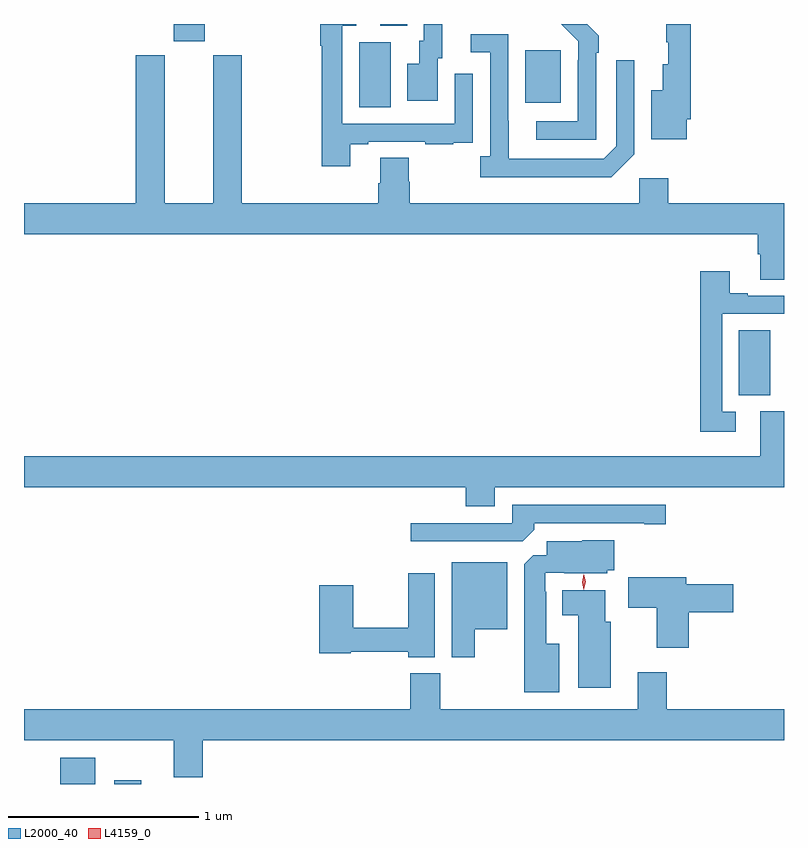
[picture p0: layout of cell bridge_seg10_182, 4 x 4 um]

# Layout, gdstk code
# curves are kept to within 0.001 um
import gdstk
lib = gdstk.Library(unit=1e-6, precision=1e-09)
def R(c, l, rs):  # rectangles x0, y0, x1, y1
    for r in rs: c.add(gdstk.rectangle(r[:2], r[2:], *l))
def P(c, l, *ps):  # polygons
    for p in ps: c.add(gdstk.Polygon(p, *l))
L2000_40 = (2000, 40)
L4159_0 = (4159, 0)

bridge_seg10_182 = lib.new_cell('bridge_seg10_182')
R(bridge_seg10_182, L2000_40, [(157.973,1249.471,158.158,1249.609), (158.258,1249.471,158.401,1249.492), (161.546,1251.517,161.71,1251.86), (159.548,1253.032,159.712,1253.376), (160.421,1253.057,160.609,1253.332), (158.57,1253.379,158.734,1253.471), (159.659,1253.461,159.799,1253.471)])
P(bridge_seg10_182, L2000_40, [(160.794,1253.321),(160.809,1253.321),(160.809,1253.409),(160.747,1253.471),(160.61,1253.471),(160.701,1253.379),(160.701,1253.279),(160.698,1253.279),(160.698,1252.959),(160.479,1252.959),(160.479,1252.863),(160.794,1252.863)],
  [(159.961,1253.292),(159.985,1253.292),(159.985,1253.471),(159.888,1253.471),(159.888,1253.382),(159.863,1253.382),(159.863,1253.263),(159.8,1253.263),(159.8,1253.067),(159.961,1253.067)],
  [(161.272,1252.969),(161.291,1252.969),(161.291,1253.471),(161.163,1253.471),(161.163,1253.375),(161.174,1253.375),(161.174,1253.26),(161.144,1253.26),(161.144,1253.122),(161.084,1253.122),(161.084,1252.865),(161.272,1252.865)],
  [(159.499,1252.839),(159.595,1252.839),(159.595,1252.851),(159.895,1252.851),(159.895,1252.839),(160.043,1252.839),(160.043,1252.845),(160.145,1252.845),(160.145,1252.954),(160.146,1252.954),(160.146,1253.209),(160.05,1253.209),(160.05,1252.947),(159.459,1252.947),(159.459,1253.463),(159.532,1253.463),(159.532,1253.471),(159.343,1253.471),(159.343,1253.356),(159.351,1253.356),(159.351,1252.722),(159.499,1252.722)],
  [(160.995,1252.785),(160.995,1253.281),(160.899,1253.281),(160.899,1252.827),(160.833,1252.761),(160.333,1252.761),(160.332,1253.418),(160.134,1253.418),(160.134,1253.322),(160.236,1253.322),(160.236,1252.774),(160.185,1252.774),(160.185,1252.664),(160.874,1252.664)],
  [(159.659,1252.766),(159.659,1252.634),(159.647,1252.634),(159.647,1252.528),(158.928,1252.528),(158.928,1253.307),(158.78,1253.307),(158.78,1252.528),(158.524,1252.528),(158.524,1253.307),(158.372,1253.307),(158.372,1252.528),(157.783,1252.528),(157.783,1252.364),(161.645,1252.364),(161.645,1252.258),(161.657,1252.258),(161.657,1252.126),(161.783,1252.126),(161.783,1252.528),(161.174,1252.528),(161.174,1252.66),(161.022,1252.66),(161.022,1252.528),(159.812,1252.528),(159.812,1252.641),(159.807,1252.641),(159.807,1252.766)],
  [(161.53,1251.429),(161.457,1251.429),(161.457,1251.945),(161.783,1251.945),(161.783,1252.041),(161.593,1252.041),(161.593,1252.054),(161.497,1252.054),(161.497,1252.171),(161.341,1252.171),(161.341,1251.324),(161.53,1251.324)],
  [(160.261,1251.032),(161.783,1251.032),(161.783,1251.432),(161.657,1251.432),(161.657,1251.196),(157.783,1251.196),(157.783,1251.032),(160.109,1251.032),(160.109,1250.933),(160.261,1250.933)],
  [(160.469,1250.81),(160.469,1250.844),(161.048,1250.844),(161.048,1250.839),(161.161,1250.839),(161.161,1250.94),(160.353,1250.94),(160.353,1250.844),(159.819,1250.844),(159.819,1250.748),(160.407,1250.748)],
  [(160.6,1250.209),(160.531,1250.209),(160.531,1250.483),(160.527,1250.483),(160.527,1250.583),(160.627,1250.583),(160.627,1250.579),(160.854,1250.579),(160.854,1250.595),(160.889,1250.595),(160.889,1250.755),(160.722,1250.755),(160.722,1250.749),(160.535,1250.749),(160.535,1250.676),(160.464,1250.676),(160.415,1250.627),(160.415,1249.955),(160.6,1249.955)],
  [(160.156,1250.285),(160.327,1250.285),(160.327,1250.638),(160.034,1250.638),(160.034,1250.139),(160.156,1250.139)],
  [(159.946,1250.581),(159.805,1250.581),(159.805,1250.294),(159.516,1250.294),(159.516,1250.518),(159.338,1250.518),(159.338,1250.158),(159.504,1250.158),(159.504,1250.166),(159.805,1250.166),(159.805,1250.138),(159.946,1250.138)],
  [(161.282,1250.375),(161.515,1250.375),(161.515,1250.522),(161.269,1250.522),(161.269,1250.559),(160.962,1250.559),(160.962,1250.398),(161.114,1250.398),(161.114,1250.187),(161.282,1250.187)],
  [(160.87,1250.325),(160.843,1250.325),(160.843,1250.491),(160.616,1250.491),(160.616,1250.36),(160.7,1250.36),(160.7,1249.977),(160.87,1249.977)],
  [(158.723,1249.7),(161.783,1249.7),(161.783,1249.864),(161.165,1249.864),(161.165,1250.059),(161.012,1250.059),(161.012,1249.864),(159.975,1249.864),(159.975,1250.053),(159.815,1250.053),(159.815,1249.864),(157.783,1249.864),(157.783,1249.7),(158.57,1249.7),(158.57,1249.506),(158.723,1249.506)])
P(bridge_seg10_182, L4159_0, [(160.73,1250.493),(160.73,1250.494),(160.72,1250.534),(160.729,1250.576),(160.729,1250.576),(160.73,1250.576),(160.74,1250.535),(160.73,1250.494)])

lib.write_gds('bridge_seg10_182.gds')
